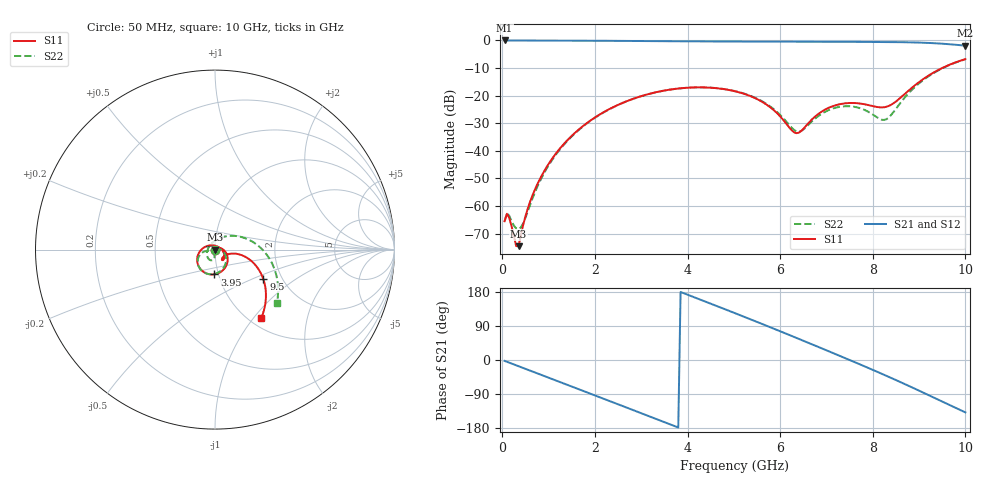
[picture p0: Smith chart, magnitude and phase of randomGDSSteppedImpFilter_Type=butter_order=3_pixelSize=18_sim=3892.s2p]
! freq	dB(S11)	phase(S11)	dB(S12)	phase(S12)
!  dB(S21)	phase(S21)	dB(S22)	phase(S22)
!S-par simulation data
#  GHz  S  DB  R 50
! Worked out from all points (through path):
!   200 points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, 50 MHz to 10 GHz, reference 50 ohm
!   highest |S21| = -0.01 dB at 50 MHz (marker M1); lowest = -1.9 dB at 10 GHz (marker M2)
!   group delay of S21, straight-line fit = 137 ps
!   lowest |S11| = -74.6 dB at 350 MHz (marker M3), VSWR 1.00, Z = 50 + j0.0183 ohm
!   |S11| at or under -10 dB: start of sweep to 9.499 GHz
!   |S22| runs from -68.4 to -6.8 dB; largest |S21 - S12| = 0
!   S11 on the Smith chart (normalised r, x): 50 MHz: 1.00, -0.00; 3.95 GHz: 0.96, -0.27; 9.5 GHz: 1.60, -0.59; 10 GHz: 1.14, -1.09
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0.05  -65.54 -49.5  -0.01 -2.4  -0.01 -2.4  -65.58 -49.7
0.1  -62.83 -21.1  -0.01 -4.7  -0.01 -4.7  -62.50 -20.3
0.3  -74.54 40.9  -0.02 -14.0  -0.02 -14.0  -68.15 8.0
0.35  -74.57 79.1  -0.03 -16.4  -0.03 -16.4  -68.42 11.8
0.55  -60.95 100.5  -0.03 -25.7  -0.03 -25.7  -61.95 38.3
0.85  -49.01 75.3  -0.04 -39.7  -0.04 -39.7  -49.76 40.5
1.25  -39.05 47.9  -0.06 -58.3  -0.06 -58.3  -39.38 26.0
1.75  -30.93 19.2  -0.09 -81.7  -0.09 -81.7  -31.08 4.1
2.5  -23.34 -19.9  -0.15 -116.9  -0.15 -116.9  -23.40 -30.0
3.4  -18.48 -64.6  -0.26 -159.3  -0.26 -159.3  -18.50 -71.0
3.95  -17.19 -91.5  -0.32 174.8  -0.32 174.8  -17.20 -95.8
4.5  -17.13 -118.5  -0.37 148.7  -0.37 148.7  -17.11 -120.3
5.05  -18.52 -146.6  -0.39 122.4  -0.39 122.4  -18.46 -143.9
5.7  -23.18 174.8  -0.38 90.7  -0.38 90.7  -22.94 -167.3
6.35  -33.61 73.9  -0.40 58.4  -0.40 58.4  -32.95 -138.0
6.7  -28.42 -1.2  -0.42 40.8  -0.42 40.8  -29.12 -94.4
7.1  -24.05 -32.5  -0.46 20.5  -0.46 20.5  -24.90 -99.0
7.55  -22.65 -51.7  -0.51 -2.6  -0.51 -2.6  -23.93 -121.9
8.35  -23.71 -29.9  -0.58 -44.7  -0.58 -44.7  -27.86 111.7
8.95  -15.73 -12.6  -0.75 -78.1  -0.75 -78.1  -16.27 28.3
9.5  -9.99 -31.6  -1.18 -109.7  -1.18 -109.7  -10.12 -10.4
10  -6.77 -55.6  -1.90 -138.3  -1.90 -138.3  -6.81 -41.0
